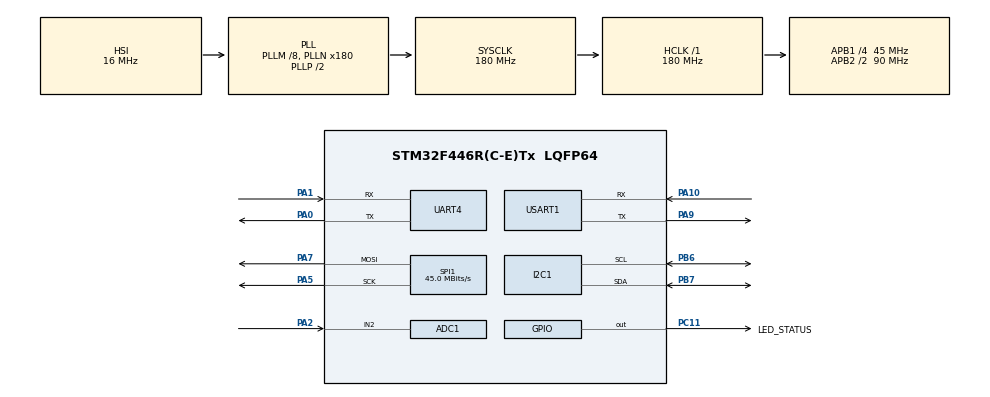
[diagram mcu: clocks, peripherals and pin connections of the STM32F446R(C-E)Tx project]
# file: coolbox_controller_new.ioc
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ADC1.Channel-0\#ChannelRegularConversion=ADC_CHANNEL_2
ADC1.NbrOfConversionFlag=1
ADC1.Rank-0\#ChannelRegularConversion=1
ADC1.SamplingTime-0\#ChannelRegularConversion=ADC_SAMPLETIME_3CYCLES
ADC1.master=1
FREERTOS.Tasks01=defaultTask,24,128,StartDefaultTask,Default,NULL,Dynamic,NULL,NULL
FREERTOS.configUSE_NEWLIB_REENTRANT=1
Mcu.Family=STM32F4
Mcu.Name=STM32F446R(C-E)Tx
Mcu.Package=LQFP64
NVIC.PriorityGroup=NVIC_PRIORITYGROUP_4
NVIC.RTC_Alarm_IRQn=true\:5\:0\:false\:false\:true\:true\:true\:true\:true
NVIC.TIM6_DAC_IRQn=true\:15\:0\:false\:false\:true\:false\:false\:true\:true
NVIC.TimeBase=TIM6_DAC_IRQn
NVIC.TimeBaseIP=TIM6
PA0-WKUP.Mode=Asynchronous
PA0-WKUP.Signal=UART4_TX
PA1.Mode=Asynchronous
PA1.Signal=UART4_RX
PA10.Mode=Asynchronous
PA10.Signal=USART1_RX
PA13.Mode=Trace_Asynchronous_SW
PA13.Signal=SYS_JTMS-SWDIO
PA14.Mode=Trace_Asynchronous_SW
PA14.Signal=SYS_JTCK-SWCLK
PA2.Signal=ADCx_IN2
PA5.Mode=TX_Only_Simplex_Unidirect_Master
PA5.Signal=SPI1_SCK
PA7.Mode=TX_Only_Simplex_Unidirect_Master
PA7.Signal=SPI1_MOSI
PA9.Mode=Asynchronous
PA9.Signal=USART1_TX
PB3.Mode=Trace_Asynchronous_SW
PB3.Signal=SYS_JTDO-SWO
PB6.Mode=I2C
PB6.Signal=I2C1_SCL
PB7.Mode=I2C
PB7.Signal=I2C1_SDA
PC11.GPIO_Label=LED_STATUS
PC11.Signal=GPIO_Output
ProjectManager.HeapSize=0x200
ProjectManager.StackSize=0x400
ProjectManager.TargetToolchain=STM32CubeIDE
RCC.AHBFreq_Value=180000000
RCC.APB1CLKDivider=RCC_HCLK_DIV4
RCC.APB1Freq_Value=45000000
RCC.APB1TimFreq_Value=90000000
RCC.APB2CLKDivider=RCC_HCLK_DIV2
RCC.APB2Freq_Value=90000000
RCC.APB2TimFreq_Value=180000000
RCC.CortexFreq_Value=180000000
RCC.HCLKFreq_Value=180000000
RCC.PLLM=8
RCC.PLLN=180
RCC.SYSCLKFreq_VALUE=180000000
RCC.SYSCLKSource=RCC_SYSCLKSOURCE_PLLCLK
RCC.USBFreq_Value=180000000
RCC.VCOOutputFreq_Value=360000000
RTC.Alarm=RTC_ALARM_A
RTC.AlarmMaskDateWeekDay=RTC_ALARMMASK_DATEWEEKDAY
RTC.AlarmMaskHours=RTC_ALARMMASK_HOURS
RTC.AlarmMaskMinutes=RTC_ALARMMASK_MINUTES
RTC.Format=RTC_FORMAT_BIN
RTC.Seconds=0
RTC.Seconds_A=5
SH.ADCx_IN2.0=ADC1_IN2,IN2
SPI1.BaudRatePrescaler=SPI_BAUDRATEPRESCALER_2
SPI1.CalculateBaudRate=45.0 MBits/s
SPI1.Direction=SPI_DIRECTION_2LINES
SPI1.Mode=SPI_MODE_MASTER
SPI1.VirtualType=VM_MASTER
UART4.VirtualMode=Asynchronous
USART1.VirtualMode=VM_ASYNC
VP_FREERTOS_VS_CMSIS_V2.Mode=CMSIS_V2
VP_RTC_VS_RTC_Activate.Mode=RTC_Enabled
VP_RTC_VS_RTC_Alarm_A_Intern.Mode=Alarm A
VP_RTC_VS_RTC_Calendar.Mode=RTC_Calendar
VP_SYS_VS_tim6.Mode=TIM6
board=custom

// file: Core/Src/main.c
/* USER CODE BEGIN Header */
/**
  ******************************************************************************
  * @file           : main.c
  * @brief          : Main program body
  ******************************************************************************
  * @attention
  *
  * Copyright (c) 2023 STMicroelectronics.
  * All rights reserved.
  *
  * This software is licensed under terms that can be found in the LICENSE file
  * in the root directory of this software component.
  * If no LICENSE file comes with this software, it is provided AS-IS.
  *
  ******************************************************************************
  */
/* USER CODE END Header */
#include "main.h"
#include "cmsis_os.h"

/* USER CODE BEGIN Includes */
#include <stdio.h>
#include <string.h>
#include "math.h"
#include "stm32f4xx_hal.h"
#include "EEPROM.h"
/* USER CODE END Includes */

/* USER CODE BEGIN PTD */
RTC_TimeTypeDef sTime = {0};
RTC_DateTypeDef sDate = {0};
RTC_TimeTypeDef sTime_get_time = {0};
RTC_DateTypeDef sDate_get_date = {0};
RTC_TimeTypeDef sTime_set_time = {0};
RTC_DateTypeDef sDate_set_date = {0};
RTC_AlarmTypeDef sAlarm = {0};
char datetime[60];

typedef struct {
  uint16_t page;
  uint16_t offset;
} sEEPROMTemperatureHistoryPosition;

sEEPROMTemperatureHistoryPosition eeprom_pos = {0x0, 0x0}; // TODO check

typedef struct{
  uint8_t Year;     /* Min_Data = 0 and Max_Data = 99 */
  uint8_t Month;
  uint8_t Date;
  uint8_t Hours;   /*This parameter must be a number between Min_Data = 0 and Max_Data = 23 if the RTC_HourFormat_24 is selected */
  uint8_t Minutes;
  uint8_t Seconds;
  float temperature;
} TemperatureHistory;
/* USER CODE END PTD */

ADC_HandleTypeDef hadc1;

I2C_HandleTypeDef hi2c1;

RTC_HandleTypeDef hrtc;

SPI_HandleTypeDef hspi1;

UART_HandleTypeDef huart4;
UART_HandleTypeDef huart1;

/* Definitions for defaultTask */
osThreadId_t defaultTaskHandle;
const osThreadAttr_t defaultTask_attributes = {
  .name = "defaultTask",
  .stack_size = 512 * 4,
  .priority = (osPriority_t) osPriorityNormal,
};
/* USER CODE BEGIN PV */
uint8_t data_of_EEPROM[100];
/* USER CODE END PV */

void SystemClock_Config(void);
static void MX_GPIO_Init(void);
static void MX_I2C1_Init(void);
static void MX_UART4_Init(void);
static void MX_ADC1_Init(void);
static void MX_RTC_Init(void);
static void MX_SPI1_Init(void);
static void MX_USART1_UART_Init(void);
void StartDefaultTask(void *argument);

/* USER CODE BEGIN 0 */
void modbus_send_temperature_history(sEEPROMTemperatureHistoryPosition *eeprom_pos){
	static uint16_t current_page = 0;
	static uint16_t current_offset = 0;

	if (current_page >= 512) { // reached end of EEPROM, reset position to 0
		current_page = 0;
		current_offset = 0;
	}
	EEPROM_Read(eeprom_pos->page, eeprom_pos->offset, data_of_EEPROM, 60);

    current_offset += 60; // move to next block of data in the current page
    if (current_offset >= 64) { // reached end of page, move to next page
        current_offset = 0;
        current_page += 1;
    }
    char typedef_print[100];
    sprintf(typedef_print, "Page: %d\n Offset: %d\n", current_page, current_offset);
    HAL_UART_Transmit(&huart4, typedef_print, strlen(typedef_print), HAL_MAX_DELAY);
    char eeprom[200];
    sprintf(eeprom, "EEPROM data 0: %d\n EEPROM data 1: %d\n EEPROM data 2: %d\n EEPROM data 3: %d\n EEPROM data 4: %d\n EEPROM data 5: %d\n EEPROM data 6: %d\n EEPROM data 7: %d\n EEPROM data 8: %d\n EEPROM data 9: %d\n", data_of_EEPROM[0], data_of_EEPROM[1], data_of_EEPROM[2], data_of_EEPROM[3], data_of_EEPROM[4], data_of_EEPROM[5], data_of_EEPROM[6], data_of_EEPROM[7], data_of_EEPROM[8], data_of_EEPROM[9]);
    HAL_UART_Transmit(&huart4, eeprom, strlen(eeprom), HAL_MAX_DELAY);
    HAL_Delay(500);
}
void write_EEPROM(){
	// write TemperatureHistory to EEPROM
	// TODO check if its writing correctly
	float NTC_temperature_in_float = 3.1456;
	TemperatureHistory t;
	TemperatureHistory* history = &t;
	uint8_t* ptr = (uint8_t*) history;
	uint8_t temperature_bytes[4];

	t.Year = 23;	//sDate_get_date.Year;     /* Min_Data = 0 and Max_Data = 99 */
	t.Month = 4;	//sDate_get_date.Month;
	t.Date = 4;	//sDate_get_date.Date;
	t.Hours = 13;	//sTime_get_time.Hours;
	t.Minutes = 2;	//sTime_get_time.Minutes;
	t.Seconds = 50;	//sTime_get_time.Seconds;
	t.temperature = 10;
	//		   Convert the float temperature value to bytes
//	float2Bytes(temperature_bytes, NTC_temperature_in_float);
	// Copy the converted bytes to the temperature field
//	memcpy(&t.temperature, temperature_bytes, sizeof(float));

	EEPROM_Write(0, 0, ptr, sizeof(TemperatureHistory));
}
/* USER CODE END 0 */

int main(void)
{

  /* MCU Configuration--------------------------------------------------------*/

  /* Reset of all peripherals, Initializes the Flash interface and the Systick. */
  HAL_Init();

  /* Configure the system clock */
  SystemClock_Config();

  /* Initialize all configured peripherals */
  MX_GPIO_Init();
  MX_I2C1_Init();
  MX_UART4_Init();
  MX_ADC1_Init();
  MX_RTC_Init();
  MX_SPI1_Init();
  MX_USART1_UART_Init();

  /* Init scheduler */
  osKernelInitialize();

  /* Create the thread(s) */
  /* creation of defaultTask */
  defaultTaskHandle = osThreadNew(StartDefaultTask, NULL, &defaultTask_attributes);

  /* Start scheduler */
  osKernelStart();
  /* We should never get here as control is now taken by the scheduler */
  /* Infinite loop */
  while (1)
  {

  }
}

void SystemClock_Config(void)
{
  RCC_OscInitTypeDef RCC_OscInitStruct = {0};
  RCC_ClkInitTypeDef RCC_ClkInitStruct = {0};

  /** Configure the main internal regulator output voltage
  */
  __HAL_RCC_PWR_CLK_ENABLE();
  __HAL_PWR_VOLTAGESCALING_CONFIG(PWR_REGULATOR_VOLTAGE_SCALE1);

  /** Initializes the RCC Oscillators according to the specified parameters
  * in the RCC_OscInitTypeDef structure.
  */
  RCC_OscInitStruct.OscillatorType = RCC_OSCILLATORTYPE_HSI|RCC_OSCILLATORTYPE_LSI;
  RCC_OscInitStruct.LSEState = RCC_LSE_OFF;
  RCC_OscInitStruct.HSIState = RCC_HSI_ON;
  RCC_OscInitStruct.HSICalibrationValue = RCC_HSICALIBRATION_DEFAULT;
  RCC_OscInitStruct.LSIState = RCC_LSI_ON;
  RCC_OscInitStruct.PLL.PLLState = RCC_PLL_ON;
  RCC_OscInitStruct.PLL.PLLSource = RCC_PLLSOURCE_HSI;
  RCC_OscInitStruct.PLL.PLLM = 8;
  RCC_OscInitStruct.PLL.PLLN = 180;
  RCC_OscInitStruct.PLL.PLLP = RCC_PLLP_DIV2;
  RCC_OscInitStruct.PLL.PLLQ = 2;
  RCC_OscInitStruct.PLL.PLLR = 2;
  if (HAL_RCC_OscConfig(&RCC_OscInitStruct) != HAL_OK)
  {
    Error_Handler();
  }

  /** Activate the Over-Drive mode
  */
  if (HAL_PWREx_EnableOverDrive() != HAL_OK)
  {
    Error_Handler();
  }

  /** Initializes the CPU, AHB and APB buses clocks
  */
  RCC_ClkInitStruct.ClockType = RCC_CLOCKTYPE_HCLK|RCC_CLOCKTYPE_SYSCLK
                              |RCC_CLOCKTYPE_PCLK1|RCC_CLOCKTYPE_PCLK2;
  RCC_ClkInitStruct.SYSCLKSource = RCC_SYSCLKSOURCE_PLLCLK;
  RCC_ClkInitStruct.AHBCLKDivider = RCC_SYSCLK_DIV1;
  RCC_ClkInitStruct.APB1CLKDivider = RCC_HCLK_DIV4;
  RCC_ClkInitStruct.APB2CLKDivider = RCC_HCLK_DIV2;

  if (HAL_RCC_ClockConfig(&RCC_ClkInitStruct, FLASH_LATENCY_5) != HAL_OK)
  {
    Error_Handler();
  }
}

static void MX_ADC1_Init(void)
{

  ADC_ChannelConfTypeDef sConfig = {0};

  /** Configure the global features of the ADC (Clock, Resolution, Data Alignment and number of conversion)
  */
  hadc1.Instance = ADC1;
  hadc1.Init.ClockPrescaler = ADC_CLOCK_SYNC_PCLK_DIV4;
  hadc1.Init.Resolution = ADC_RESOLUTION_12B;
  hadc1.Init.ScanConvMode = DISABLE;
  hadc1.Init.ContinuousConvMode = DISABLE;
  hadc1.Init.DiscontinuousConvMode = DISABLE;
  hadc1.Init.ExternalTrigConvEdge = ADC_EXTERNALTRIGCONVEDGE_NONE;
  hadc1.Init.ExternalTrigConv = ADC_SOFTWARE_START;
  hadc1.Init.DataAlign = ADC_DATAALIGN_RIGHT;
  hadc1.Init.NbrOfConversion = 1;
  hadc1.Init.DMAContinuousRequests = DISABLE;
  hadc1.Init.EOCSelection = ADC_EOC_SINGLE_CONV;
  if (HAL_ADC_Init(&hadc1) != HAL_OK)
  {
    Error_Handler();
  }

  /** Configure for the selected ADC regular channel its corresponding rank in the sequencer and its sample time.
  */
  sConfig.Channel = ADC_CHANNEL_2;
  sConfig.Rank = 1;
  sConfig.SamplingTime = ADC_SAMPLETIME_3CYCLES;
  if (HAL_ADC_ConfigChannel(&hadc1, &sConfig) != HAL_OK)
  {
    Error_Handler();
  }

}

static void MX_I2C1_Init(void)
{

  hi2c1.Instance = I2C1;
  hi2c1.Init.ClockSpeed = 100000;
  hi2c1.Init.DutyCycle = I2C_DUTYCYCLE_2;
  hi2c1.Init.OwnAddress1 = 0;
  hi2c1.Init.AddressingMode = I2C_ADDRESSINGMODE_7BIT;
  hi2c1.Init.DualAddressMode = I2C_DUALADDRESS_DISABLE;
  hi2c1.Init.OwnAddress2 = 0;
  hi2c1.Init.GeneralCallMode = I2C_GENERALCALL_DISABLE;
  hi2c1.Init.NoStretchMode = I2C_NOSTRETCH_DISABLE;
  if (HAL_I2C_Init(&hi2c1) != HAL_OK)
  {
    Error_Handler();
  }

}

static void MX_RTC_Init(void)
{

  RTC_TimeTypeDef sTime = {0};
  RTC_DateTypeDef sDate = {0};
  RTC_AlarmTypeDef sAlarm = {0};

  /** Initialize RTC Only
  */
  hrtc.Instance = RTC;
  hrtc.Init.HourFormat = RTC_HOURFORMAT_24;
  hrtc.Init.AsynchPrediv = 127;
  hrtc.Init.SynchPrediv = 255;
  hrtc.Init.OutPut = RTC_OUTPUT_DISABLE;
  hrtc.Init.OutPutPolarity = RTC_OUTPUT_POLARITY_HIGH;
  hrtc.Init.OutPutType = RTC_OUTPUT_TYPE_OPENDRAIN;
  if (HAL_RTC_Init(&hrtc) != HAL_OK)
  {
    Error_Handler();
  }

  /** Initialize RTC and set the Time and Date
  */
  sTime.Hours = 0;
  sTime.Minutes = 0;
  sTime.Seconds = 0;
  sTime.DayLightSaving = RTC_DAYLIGHTSAVING_NONE;
  sTime.StoreOperation = RTC_STOREOPERATION_RESET;
  if (HAL_RTC_SetTime(&hrtc, &sTime, RTC_FORMAT_BIN) != HAL_OK)
  {
    Error_Handler();
  }
  sDate.WeekDay = RTC_WEEKDAY_MONDAY;
  sDate.Month = RTC_MONTH_JANUARY;
  sDate.Date = 1;
  sDate.Year = 0;

  if (HAL_RTC_SetDate(&hrtc, &sDate, RTC_FORMAT_BIN) != HAL_OK)
  {
    Error_Handler();
  }

  /** Enable the Alarm A
  */
  sAlarm.AlarmTime.Hours = 0;
  sAlarm.AlarmTime.Minutes = 0;
  sAlarm.AlarmTime.Seconds = 5;
  sAlarm.AlarmTime.SubSeconds = 0;
  sAlarm.AlarmTime.DayLightSaving = RTC_DAYLIGHTSAVING_NONE;
  sAlarm.AlarmTime.StoreOperation = RTC_STOREOPERATION_RESET;
  sAlarm.AlarmMask = RTC_ALARMMASK_DATEWEEKDAY|RTC_ALARMMASK_HOURS
                              |RTC_ALARMMASK_MINUTES;
  sAlarm.AlarmSubSecondMask = RTC_ALARMSUBSECONDMASK_ALL;
  sAlarm.AlarmDateWeekDaySel = RTC_ALARMDATEWEEKDAYSEL_DATE;
  sAlarm.AlarmDateWeekDay = 1;
  sAlarm.Alarm = RTC_ALARM_A;
  if (HAL_RTC_SetAlarm_IT(&hrtc, &sAlarm, RTC_FORMAT_BIN) != HAL_OK)
  {
    Error_Handler();
  }

}

static void MX_SPI1_Init(void)
{

  /* SPI1 parameter configuration*/
  hspi1.Instance = SPI1;
  hspi1.Init.Mode = SPI_MODE_MASTER;
  hspi1.Init.Direction = SPI_DIRECTION_2LINES;
  hspi1.Init.DataSize = SPI_DATASIZE_8BIT;
  hspi1.Init.CLKPolarity = SPI_POLARITY_LOW;
  hspi1.Init.CLKPhase = SPI_PHASE_1EDGE;
  hspi1.Init.NSS = SPI_NSS_SOFT;
  hspi1.Init.BaudRatePrescaler = SPI_BAUDRATEPRESCALER_2;
  hspi1.Init.FirstBit = SPI_FIRSTBIT_MSB;
  hspi1.Init.TIMode = SPI_TIMODE_DISABLE;
  hspi1.Init.CRCCalculation = SPI_CRCCALCULATION_DISABLE;
  hspi1.Init.CRCPolynomial = 10;
  if (HAL_SPI_Init(&hspi1) != HAL_OK)
  {
    Error_Handler();
  }

}

static void MX_UART4_Init(void)
{

  huart4.Instance = UART4;
  huart4.Init.BaudRate = 115200;
  huart4.Init.WordLength = UART_WORDLENGTH_8B;
  huart4.Init.StopBits = UART_STOPBITS_1;
  huart4.Init.Parity = UART_PARITY_NONE;
  huart4.Init.Mode = UART_MODE_TX_RX;
  huart4.Init.HwFlowCtl = UART_HWCONTROL_NONE;
  huart4.Init.OverSampling = UART_OVERSAMPLING_16;
  if (HAL_UART_Init(&huart4) != HAL_OK)
  {
    Error_Handler();
  }

}

static void MX_USART1_UART_Init(void)
{

  huart1.Instance = USART1;
  huart1.Init.BaudRate = 115200;
  huart1.Init.WordLength = UART_WORDLENGTH_8B;
  huart1.Init.StopBits = UART_STOPBITS_1;
  huart1.Init.Parity = UART_PARITY_NONE;
  huart1.Init.Mode = UART_MODE_TX_RX;
  huart1.Init.HwFlowCtl = UART_HWCONTROL_NONE;
  huart1.Init.OverSampling = UART_OVERSAMPLING_16;
  if (HAL_UART_Init(&huart1) != HAL_OK)
  {
    Error_Handler();
  }

}

static void MX_GPIO_Init(void)
{
  GPIO_InitTypeDef GPIO_InitStruct = {0};

  /* GPIO Ports Clock Enable */
  __HAL_RCC_GPIOA_CLK_ENABLE();
  __HAL_RCC_GPIOC_CLK_ENABLE();
  __HAL_RCC_GPIOB_CLK_ENABLE();

  /*Configure GPIO pin Output Level */
  HAL_GPIO_WritePin(LED_STATUS_GPIO_Port, LED_STATUS_Pin, GPIO_PIN_RESET);

  /*Configure GPIO pin : LED_STATUS_Pin */
  GPIO_InitStruct.Pin = LED_STATUS_Pin;
  GPIO_InitStruct.Mode = GPIO_MODE_OUTPUT_PP;
  GPIO_InitStruct.Pull = GPIO_NOPULL;
  GPIO_InitStruct.Speed = GPIO_SPEED_FREQ_LOW;
  HAL_GPIO_Init(LED_STATUS_GPIO_Port, &GPIO_InitStruct);

}

/* USER CODE BEGIN 4 */
void HAL_RTC_AlarmAEventCallback(RTC_HandleTypeDef *hrtc) {
   HAL_GPIO_TogglePin(GPIOC, LED_STATUS_Pin);
   /** Enable the Alarm A
   */
   HAL_RTC_GetTime(hrtc, &sTime_get_time, RTC_FORMAT_BIN);
   HAL_RTC_GetDate(hrtc, &sDate_get_date, RTC_FORMAT_BIN);
   sprintf(datetime, "Alarm triggered at %02d/%02d/%02d %02d:%02d:%02d\r\n", sDate_get_date.Year, sDate_get_date.Month, sDate_get_date.Date, sTime_get_time.Hours, sTime_get_time.Minutes, sTime_get_time.Seconds);
//   printf(datetime);
   HAL_UART_Transmit(&huart4, datetime, strlen(datetime), HAL_MAX_DELAY);

   sAlarm.AlarmTime.Hours = 0;

   uint8_t alarm_interval_minutes = 1;
   uint8_t next_alarm_minutes = (alarm_interval_minutes - (sTime_get_time.Minutes % alarm_interval_minutes)) + sTime_get_time.Minutes;
   if (next_alarm_minutes == 60) { next_alarm_minutes = 0; }
//   printf("Next alarm at %d minutes\n", next_alarm_minutes);
   sAlarm.AlarmTime.Minutes = 0;

   uint8_t alarm_interval_secounds = 5;
   uint8_t next_alarm_secounds = (alarm_interval_secounds - (sTime.Seconds % alarm_interval_secounds)) + sTime.Seconds;
   if (next_alarm_secounds == 60) { next_alarm_secounds = 0; }
   printf("Next alarm at %d seconds\n", next_alarm_secounds);

   sAlarm.AlarmTime.Seconds = next_alarm_secounds;
   sAlarm.AlarmTime.SubSeconds = 0;
   sAlarm.AlarmTime.DayLightSaving = RTC_DAYLIGHTSAVING_NONE;
   sAlarm.AlarmTime.StoreOperation = RTC_STOREOPERATION_RESET;
//   sAlarm.AlarmMask = RTC_ALARMMASK_DATEWEEKDAY|RTC_ALARMMASK_HOURS;
   sAlarm.AlarmMask = RTC_ALARMMASK_DATEWEEKDAY|RTC_ALARMMASK_HOURS
                               |RTC_ALARMMASK_MINUTES;
   sAlarm.AlarmSubSecondMask = RTC_ALARMSUBSECONDMASK_ALL;
   sAlarm.AlarmDateWeekDaySel = RTC_ALARMDATEWEEKDAYSEL_DATE;
   sAlarm.AlarmDateWeekDay = 0x1;
   sAlarm.Alarm = RTC_ALARM_A;
   if (HAL_RTC_SetAlarm_IT(hrtc, &sAlarm, RTC_FORMAT_BIN) != HAL_OK)
   {
     Error_Handler();
   }

}
/* USER CODE END 4 */

void StartDefaultTask(void *argument)
{
  /* USER CODE BEGIN 5 */
  /* Infinite loop */
  for(;;)
  {
//	  HAL_GPIO_TogglePin(GPIOC, LED_STATUS_Pin);

	  modbus_send_temperature_history(&eeprom_pos);

	  osDelay(1000);
  }
  /* USER CODE END 5 */
}

void HAL_TIM_PeriodElapsedCallback(TIM_HandleTypeDef *htim)
{
  if (htim->Instance == TIM6) {
    HAL_IncTick();
  }
}

void Error_Handler(void)
{
  __disable_irq();
  while (1)
  {
  }
}
